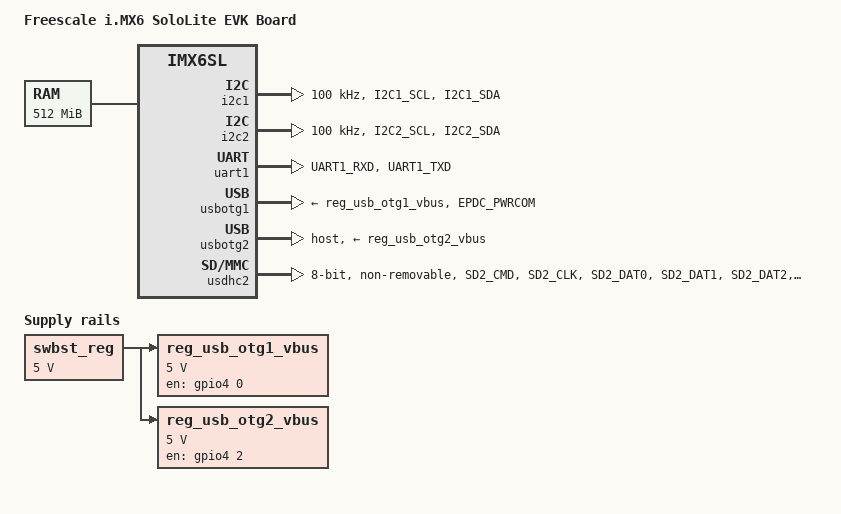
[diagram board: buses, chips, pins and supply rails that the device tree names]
// SPDX-License-Identifier: GPL-2.0
//
//Copyright (C) 2013 Freescale Semiconductor, Inc.

/dts-v1/;

#include <dt-bindings/gpio/gpio.h>
#include <dt-bindings/input/input.h>
#include "imx6sl.dtsi"

/ {
	model = "Freescale i.MX6 SoloLite EVK Board";
	compatible = "fsl,imx6sl-evk", "fsl,imx6sl";

	chosen {
		stdout-path = &uart1;
	};

	// 512mbyte lpddr2
	memory@80000000 {
		device_type = "memory";
		reg = <0x80000000 0x20000000>;
	};

	swbst_reg: swbst {
		compatible = "regulator-fixed";
		regulator-name = "swbst";
		regulator-min-microvolt = <5000000>;
		regulator-max-microvolt = <5000000>;
		regulator-always-on;
	};

	reg_usb_otg1_vbus: regulator-usb-otg1-vbus {
		compatible = "regulator-fixed";
		regulator-name = "usb_otg1_vbus";
		regulator-min-microvolt = <5000000>;
		regulator-max-microvolt = <5000000>;
		gpio = <&gpio4 0 GPIO_ACTIVE_HIGH>;
		enable-active-high;
		vin-supply = <&swbst_reg>;
	};

	reg_usb_otg2_vbus: regulator-usb-otg2-vbus {
		compatible = "regulator-fixed";
		regulator-name = "usb_otg2_vbus";
		regulator-min-microvolt = <5000000>;
		regulator-max-microvolt = <5000000>;
		gpio = <&gpio4 2 GPIO_ACTIVE_HIGH>;
		enable-active-high;
		vin-supply = <&swbst_reg>;
	};

	aliases {
		mmc0 = &usdhc2; // mmc0 for emmc
	};
};

&i2c1 {
	clock-frequency = <100000>;
	pinctrl-names = "default";
	pinctrl-0 = <&pinctrl_i2c1>;
	status = "okay";

};

&i2c2 {
	clock-frequency = <100000>;
	pinctrl-names = "default";
	pinctrl-0 = <&pinctrl_i2c2>;
	status = "okay";

};

&iomuxc {
	pinctrl-names = "default";

	pinctrl_i2c1: i2c1grp {
		fsl,pins = <
			MX6SL_PAD_I2C1_SCL__I2C1_SCL	0x4001b8b1
			MX6SL_PAD_I2C1_SDA__I2C1_SDA	0x4001b8b1
		>;
	};

	pinctrl_i2c2: i2c2grp {
		fsl,pins = <
			MX6SL_PAD_I2C2_SCL__I2C2_SCL	0x4001b8b1
			MX6SL_PAD_I2C2_SDA__I2C2_SDA	0x4001b8b1
		>;
	};

	pinctrl_uart1: uart1grp {
		fsl,pins = <
			MX6SL_PAD_UART1_RXD__UART1_RX_DATA	0x1b0b1
			MX6SL_PAD_UART1_TXD__UART1_TX_DATA	0x1b0b1
		>;
	};

	pinctrl_usbotg1: usbotg1grp {
		fsl,pins = <
			MX6SL_PAD_EPDC_PWRCOM__USB_OTG1_ID	0x17059
		>;
	};

	pinctrl_usdhc1: usdhc1grp {
		fsl,pins = <
			MX6SL_PAD_SD1_CMD__SD1_CMD    0x407059
			MX6SL_PAD_SD1_CLK__SD1_CLK    0x4000D9 /*0x19*/ /*0x41f0b1 1<<22|1<<16|3<<14|1<<13|1<<12|0<<11|2<<6|6<<3|1 	0100 0001 1111 0000 1011 0001 --*/
			MX6SL_PAD_SD1_DAT0__SD1_DATA0 0x407059
			MX6SL_PAD_SD1_DAT1__SD1_DATA1 0x407059
			MX6SL_PAD_SD1_DAT2__SD1_DATA2 0x407059
			MX6SL_PAD_SD1_DAT3__SD1_DATA3 0x407059
		>;
	};

	pinctrl_usdhc1_100mhz: usdhc1-100mhz-grp {
		fsl,pins = <
			MX6SL_PAD_SD1_CMD__SD1_CMD    0x4070a9
			MX6SL_PAD_SD1_CLK__SD1_CLK    0x4000f9
			MX6SL_PAD_SD1_DAT0__SD1_DATA0 0x4070a9
			MX6SL_PAD_SD1_DAT1__SD1_DATA1 0x4070a9
			MX6SL_PAD_SD1_DAT2__SD1_DATA2 0x4070a9
			MX6SL_PAD_SD1_DAT3__SD1_DATA3 0x4070a9
		>;
	};

	pinctrl_usdhc1_200mhz: usdhc1-200mhz-grp {
		fsl,pins = <
			MX6SL_PAD_SD1_CMD__SD1_CMD    0x4070e9
			MX6SL_PAD_SD1_CLK__SD1_CLK    0x4000f9
			MX6SL_PAD_SD1_DAT0__SD1_DATA0 0x4070e9
			MX6SL_PAD_SD1_DAT1__SD1_DATA1 0x4070e9
			MX6SL_PAD_SD1_DAT2__SD1_DATA2 0x4070e9
			MX6SL_PAD_SD1_DAT3__SD1_DATA3 0x4070e9
		>;
	};

	pinctrl_usdhc2: usdhc2grp {
		fsl,pins = <
			MX6SL_PAD_SD2_CMD__SD2_CMD    0x407059 
			MX6SL_PAD_SD2_CLK__SD2_CLK    0x400059
			MX6SL_PAD_SD2_DAT0__SD2_DATA0 0x407059
			MX6SL_PAD_SD2_DAT1__SD2_DATA1 0x407059
			MX6SL_PAD_SD2_DAT2__SD2_DATA2 0x407059
			MX6SL_PAD_SD2_DAT3__SD2_DATA3 0x407059
			MX6SL_PAD_SD2_DAT4__SD2_DATA4 0x407059
			MX6SL_PAD_SD2_DAT5__SD2_DATA5 0x407059
			MX6SL_PAD_SD2_DAT6__SD2_DATA6 0x407059
			MX6SL_PAD_SD2_DAT7__SD2_DATA7 0x407059
			MX6SL_PAD_SD2_RST__SD2_RESET  0x407059
		>;
	};

	pinctrl_usdhc2_100mhz: usdhc2-100mhz-grp {
		fsl,pins = <
			MX6SL_PAD_SD2_CMD__SD2_CMD    0x4070b9
			MX6SL_PAD_SD2_CLK__SD2_CLK    0x4000b9
			MX6SL_PAD_SD2_DAT0__SD2_DATA0 0x4070b9
			MX6SL_PAD_SD2_DAT1__SD2_DATA1 0x4070b9
			MX6SL_PAD_SD2_DAT2__SD2_DATA2 0x4070b9
			MX6SL_PAD_SD2_DAT3__SD2_DATA3 0x4070b9
			MX6SL_PAD_SD2_DAT4__SD2_DATA4 0x4070b9
			MX6SL_PAD_SD2_DAT5__SD2_DATA5 0x4070b9
			MX6SL_PAD_SD2_DAT6__SD2_DATA6 0x4070b9
			MX6SL_PAD_SD2_DAT7__SD2_DATA7 0x4070b9
			MX6SL_PAD_SD2_RST__SD2_RESET  0x4070b9
		>;
	};

	pinctrl_usdhc2_200mhz: usdhc2-200mhz-grp {
		fsl,pins = <
			MX6SL_PAD_SD2_CMD__SD2_CMD    0x4070f9
			MX6SL_PAD_SD2_CLK__SD2_CLK    0x4000f9
			MX6SL_PAD_SD2_DAT0__SD2_DATA0 0x4070f9
			MX6SL_PAD_SD2_DAT1__SD2_DATA1 0x4070f9
			MX6SL_PAD_SD2_DAT2__SD2_DATA2 0x4070f9
			MX6SL_PAD_SD2_DAT3__SD2_DATA3 0x4070f9
			MX6SL_PAD_SD2_DAT4__SD2_DATA4 0x4070f9
			MX6SL_PAD_SD2_DAT5__SD2_DATA5 0x4070f9
			MX6SL_PAD_SD2_DAT6__SD2_DATA6 0x4070f9
			MX6SL_PAD_SD2_DAT7__SD2_DATA7 0x4070f9
			MX6SL_PAD_SD2_RST__SD2_RESET  0x4070f9
		>;
	};
};

&uart1 {
	pinctrl-names = "default";
	pinctrl-0 = <&pinctrl_uart1>;
	status = "okay";
};

&usbotg1 {
	vbus-supply = <&reg_usb_otg1_vbus>;
	pinctrl-names = "default";
	pinctrl-0 = <&pinctrl_usbotg1>;
	disable-over-current;
	status = "okay";
};

&usbotg2 {
	vbus-supply = <&reg_usb_otg2_vbus>;
	dr_mode = "host";
	disable-over-current;
	status = "okay";
};

// bcm43430
&usdhc1 {
	pinctrl-names = "default", "state_100mhz", "state_200mhz";
	pinctrl-0 = <&pinctrl_usdhc1>;
	pinctrl-1 = <&pinctrl_usdhc1_100mhz>;
	pinctrl-2 = <&pinctrl_usdhc1_200mhz>;
	keep-power-in-suspend;
	non-removable;
	/*enable-sdio-wakeup;*/
	bus-width = <4>;
	fsl,delay-line;
	status = "disabled";
};

// emmc
&usdhc2 {
	pinctrl-names = "default", "state_100mhz", "state_200mhz";
	pinctrl-0 = <&pinctrl_usdhc2>;
	pinctrl-1 = <&pinctrl_usdhc2_100mhz>;
	pinctrl-2 = <&pinctrl_usdhc2_200mhz>;
	non-removable;
	keep-power-in-suspend;
	/*enable-sdio-wakeup;*/
	bus-width = <8>;
	fsl,sig-voltage-switch-disable;
	max-frequency = <104000000>;
	fsl,sdr50-support-override;
	fsl,sdr104-support-override;
	status = "okay";
};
